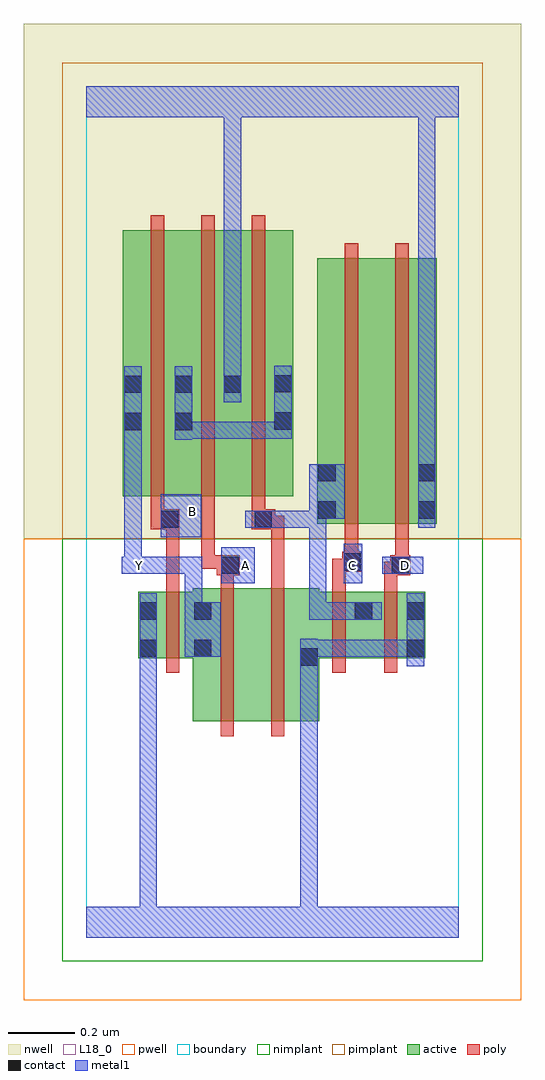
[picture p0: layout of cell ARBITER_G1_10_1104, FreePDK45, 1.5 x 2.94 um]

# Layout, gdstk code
import gdstk
lib = gdstk.Library(unit=1e-6, precision=1e-09)
def R(c, l, rs):  # rectangles x0, y0, x1, y1
    for r in rs: c.add(gdstk.rectangle(r[:2], r[2:], *l))
def A(c, l, x, y, w, h, nx, ny, dx, dy):  # array of equal rectangles
    R(c, l, [(x+i*dx, y+j*dy, x+i*dx+w, y+j*dy+h) for i in range(nx) for j in range(ny)])
active = (1, 0)
pwell = (2, 0)
nwell = (3, 0)
nimplant = (4, 0)
pimplant = (5, 0)
poly = (9, 0)
contact = (10, 0)
metal1 = (11, 0)
L18_0 = (18, 0)
boundary = (235, 0)

arbiter_g1_10_1104 = lib.new_cell('ARBITER_G1_10_1104')
R(arbiter_g1_10_1104, active, [(0.32,0.65,0.5,1.05), (0.5,0.65,0.7,1.05), (0.64,0.814,0.7,0.916), (0.156,0.84,0.216,1.04), (0.156,0.84,0.38,1.04), (0.32,0.84,0.38,1.04), (0.64,0.84,0.864,1.04), (0.804,0.84,1.02,1.04), (0.96,0.84,1.02,1.04), (0.804,0.89,0.864,1.012), (0.694,1.244,0.754,2.044), (0.694,1.244,0.874,2.044), (0.874,1.244,1.054,2.044), (0.994,1.244,1.054,2.044), (0.11,1.328,0.17,2.128), (0.11,1.328,0.322,2.128), (0.262,1.328,0.322,2.128), (0.262,1.328,0.47,2.128), (0.41,1.328,0.622,2.128), (0.562,1.328,0.622,2.128), (0.41,1.498,0.47,2.128)])
R(arbiter_g1_10_1104, pwell, [(-0.188,-0.188,1.308,1.2)])
R(arbiter_g1_10_1104, nwell, [(-0.188,1.2,1.308,2.748)])
R(arbiter_g1_10_1104, nimplant, [(-0.072,-0.072,1.192,1.2)])
R(arbiter_g1_10_1104, pimplant, [(-0.072,1.2,1.192,2.632)])
A(arbiter_g1_10_1104, poly, 0.194, 1.284, 0.04, 0.888, 3, 1, 0.152, 0)
R(arbiter_g1_10_1104, poly, [(0.404,0.606,0.444,1.094), (0.556,0.606,0.596,1.094), (0.24,0.796,0.28,1.084), (0.74,0.796,0.78,1.084), (0.896,0.796,0.936,1.084), (0.24,1.044,0.28,1.268), (0.74,1.044,0.78,1.14), (0.896,1.044,0.936,1.13), (0.404,1.054,0.444,1.13), (0.556,1.054,0.596,1.268), (0.392,1.09,0.462,1.15), (0.896,1.09,0.954,1.13), (0.914,1.09,0.954,1.13), (0.914,1.09,0.974,1.15), (0.74,1.1,0.81,1.14), (0.77,1.1,0.81,1.14), (0.77,1.1,0.83,1.16), (0.346,1.11,0.386,1.324), (0.346,1.11,0.432,1.15), (0.392,1.11,0.432,1.15), (0.93,1.11,0.97,1.24), (0.778,1.12,0.818,1.24), (0.778,1.2,0.818,2.088), (0.93,1.2,0.97,2.088), (0.194,1.228,0.28,1.288), (0.24,1.228,0.28,1.268), (0.24,1.228,0.28,1.268), (0.498,1.228,0.568,1.288), (0.528,1.228,0.568,1.268), (0.528,1.228,0.596,1.268), (0.194,1.248,0.234,1.324), (0.498,1.248,0.538,1.324)])
R(arbiter_g1_10_1104, contact, [(0.644,0.818,0.696,0.87), (0.16,0.844,0.212,0.896), (0.324,0.844,0.376,0.896), (0.964,0.844,1.016,0.896), (0.16,0.956,0.212,1.008), (0.324,0.956,0.376,1.008), (0.808,0.956,0.86,1.008), (0.964,0.956,1.016,1.008), (0.406,1.094,0.458,1.146), (0.918,1.094,0.97,1.146), (0.774,1.104,0.826,1.156), (0.224,1.232,0.276,1.284), (0.506,1.232,0.558,1.284), (0.698,1.26,0.75,1.312), (0.998,1.26,1.05,1.312), (0.698,1.372,0.75,1.424), (0.998,1.372,1.05,1.424), (0.114,1.526,0.166,1.578), (0.266,1.526,0.318,1.578), (0.566,1.528,0.618,1.58), (0.114,1.638,0.166,1.69), (0.266,1.638,0.318,1.69), (0.414,1.638,0.466,1.69), (0.566,1.64,0.618,1.692)])
R(arbiter_g1_10_1104, metal1, [(0,0,1.12,0.092), (0.16,0.04,0.212,0.092), (0.16,0.04,0.212,0.092), (0.16,0.04,0.212,0.092), (0.16,0.04,0.212,0.092), (0.16,0.04,0.212,0.092), (0.16,0.04,0.212,0.092), (0.16,0.04,0.212,0.092), (0.16,0.04,0.212,0.092), (0.16,0.04,0.212,0.092), (0.16,0.04,0.212,0.092), (0.16,0.04,0.212,0.092), (0.16,0.04,0.212,0.092), (0.16,0.04,0.212,0.092), (0.16,0.04,0.212,0.092), (0.16,0.04,0.212,0.092), (0.16,0.04,0.212,0.092), (0.16,0.04,0.212,0.868), (0.644,0.04,0.696,0.092), (0.644,0.04,0.696,0.092), (0.644,0.04,0.696,0.092), (0.644,0.04,0.696,0.092), (0.644,0.04,0.696,0.092), (0.644,0.04,0.696,0.092), (0.644,0.04,0.696,0.092), (0.644,0.04,0.696,0.092), (0.644,0.04,0.696,0.092), (0.644,0.04,0.696,0.092), (0.644,0.04,0.696,0.092), (0.644,0.04,0.696,0.092), (0.644,0.04,0.696,0.092), (0.644,0.04,0.696,0.092), (0.644,0.04,0.696,0.092), (0.644,0.04,0.696,0.092), (0.644,0.04,0.696,0.842), (0.644,0.79,0.696,0.898), (0.16,0.816,0.212,1.036), (0.964,0.816,1.016,1.036), (0.296,0.844,0.404,1.008), (0.644,0.844,0.832,0.896), (0.78,0.844,0.832,0.896), (0.78,0.844,0.832,0.896), (0.78,0.844,0.832,0.896), (0.78,0.844,0.998,0.896), (0.946,0.844,0.998,0.896), (0.946,0.844,1.016,0.896), (0.296,0.956,0.348,1.146), (0.67,0.956,0.722,1.008), (0.67,0.956,0.832,1.008), (0.67,0.956,0.722,1.284), (0.78,0.956,0.832,1.008), (0.78,0.956,0.832,1.008), (0.78,0.956,0.832,1.008), (0.78,0.956,0.832,1.008), (0.78,0.956,0.888,1.008), (0.406,1.066,0.506,1.174), (0.774,1.066,0.83,1.184), (0.106,1.094,0.214,1.146), (0.114,1.094,0.166,1.55), (0.162,1.094,0.214,1.146), (0.162,1.094,0.214,1.146), (0.162,1.094,0.348,1.146), (0.296,1.094,0.348,1.146), (0.89,1.094,1.014,1.146), (0.224,1.204,0.346,1.334), (0.478,1.232,0.586,1.284), (0.534,1.232,0.716,1.284), (0.664,1.232,0.716,1.284), (0.664,1.232,0.722,1.284), (0.67,1.232,0.722,1.284), (0.67,1.232,0.722,1.312), (0.998,1.232,1.05,1.452), (0.67,1.26,0.778,1.424), (0.998,1.4,1.05,1.452), (0.998,1.4,1.05,1.452), (0.998,1.4,1.05,1.452), (0.998,1.4,1.05,1.452), (0.998,1.4,1.05,2.52), (0.114,1.498,0.166,1.55), (0.114,1.498,0.166,1.55), (0.114,1.498,0.166,1.718), (0.266,1.498,0.318,1.718), (0.266,1.5,0.324,1.552), (0.272,1.5,0.324,1.552), (0.272,1.5,0.506,1.552), (0.454,1.5,0.506,1.552), (0.454,1.5,0.506,1.552), (0.454,1.5,0.506,1.552), (0.454,1.5,0.618,1.552), (0.566,1.5,0.618,1.72), (0.414,1.61,0.466,1.718), (0.414,1.666,0.466,1.718), (0.414,1.666,0.466,1.718), (0.414,1.666,0.466,1.718), (0.414,1.666,0.466,1.718), (0.414,1.666,0.466,1.718), (0.414,1.666,0.466,1.718), (0.414,1.666,0.466,1.718), (0.414,1.666,0.466,1.718), (0.414,1.666,0.466,2.52), (0,2.468,1.12,2.56), (0.998,2.468,1.05,2.52), (0.998,2.468,1.05,2.52), (0.998,2.468,1.05,2.52), (0.998,2.468,1.05,2.52)])
R(arbiter_g1_10_1104, L18_0, [(0,0,1.12,0.092), (0.16,0.04,0.212,0.092), (0.16,0.04,0.212,0.092), (0.16,0.04,0.212,0.092), (0.16,0.04,0.212,0.092), (0.16,0.04,0.212,0.092), (0.16,0.04,0.212,0.092), (0.16,0.04,0.212,0.092), (0.16,0.04,0.212,0.092), (0.16,0.04,0.212,0.092), (0.16,0.04,0.212,0.092), (0.16,0.04,0.212,0.092), (0.16,0.04,0.212,0.092), (0.16,0.04,0.212,0.092), (0.16,0.04,0.212,0.092), (0.16,0.04,0.212,0.092), (0.16,0.04,0.212,0.092), (0.16,0.04,0.212,0.868), (0.644,0.04,0.696,0.092), (0.644,0.04,0.696,0.092), (0.644,0.04,0.696,0.092), (0.644,0.04,0.696,0.092), (0.644,0.04,0.696,0.092), (0.644,0.04,0.696,0.092), (0.644,0.04,0.696,0.092), (0.644,0.04,0.696,0.092), (0.644,0.04,0.696,0.092), (0.644,0.04,0.696,0.092), (0.644,0.04,0.696,0.092), (0.644,0.04,0.696,0.092), (0.644,0.04,0.696,0.092), (0.644,0.04,0.696,0.092), (0.644,0.04,0.696,0.092), (0.644,0.04,0.696,0.092), (0.644,0.04,0.696,0.842), (0.644,0.79,0.696,0.898), (0.16,0.816,0.212,1.036), (0.964,0.816,1.016,1.036), (0.296,0.844,0.404,1.008), (0.644,0.844,0.832,0.896), (0.78,0.844,0.832,0.896), (0.78,0.844,0.832,0.896), (0.78,0.844,0.832,0.896), (0.78,0.844,0.998,0.896), (0.946,0.844,0.998,0.896), (0.946,0.844,1.016,0.896), (0.296,0.956,0.348,1.146), (0.406,1.066,0.506,1.174), (0.774,1.066,0.83,1.184), (0.106,1.094,0.214,1.146), (0.114,1.094,0.166,1.55), (0.134,1.094,0.186,1.146), (0.162,1.094,0.214,1.146), (0.162,1.094,0.214,1.146), (0.162,1.094,0.348,1.146), (0.296,1.094,0.348,1.146), (0.454,1.094,0.506,1.146), (0.774,1.094,0.826,1.146), (0.89,1.094,1.014,1.146), (0.934,1.094,0.986,1.146), (0.224,1.204,0.346,1.334), (0.998,1.232,1.05,1.452), (0.294,1.254,0.346,1.306), (0.998,1.4,1.05,1.452), (0.998,1.4,1.05,1.452), (0.998,1.4,1.05,1.452), (0.998,1.4,1.05,1.452), (0.998,1.4,1.05,2.52), (0.114,1.498,0.166,1.55), (0.114,1.498,0.166,1.55), (0.114,1.498,0.166,1.718), (0.414,1.61,0.466,1.718), (0.414,1.666,0.466,1.718), (0.414,1.666,0.466,1.718), (0.414,1.666,0.466,1.718), (0.414,1.666,0.466,1.718), (0.414,1.666,0.466,1.718), (0.414,1.666,0.466,1.718), (0.414,1.666,0.466,1.718), (0.414,1.666,0.466,1.718), (0.414,1.666,0.466,2.52), (0,2.468,1.12,2.56), (0.998,2.468,1.05,2.52), (0.998,2.468,1.05,2.52), (0.998,2.468,1.05,2.52), (0.998,2.468,1.05,2.52)])
R(arbiter_g1_10_1104, boundary, [(0,0,1.12,2.56)])
arbiter_g1_10_1104.add(gdstk.Label('A', (0.48,1.12), layer=11, texttype=0))
arbiter_g1_10_1104.add(gdstk.Label('B', (0.32,1.28), layer=11, texttype=0))
arbiter_g1_10_1104.add(gdstk.Label('C', (0.8,1.12), layer=11, texttype=0))
arbiter_g1_10_1104.add(gdstk.Label('D', (0.96,1.12), layer=11, texttype=0))
arbiter_g1_10_1104.add(gdstk.Label('Y', (0.16,1.12), layer=11, texttype=0))

lib.write_gds('ARBITER_G1_10_1104.gds')
